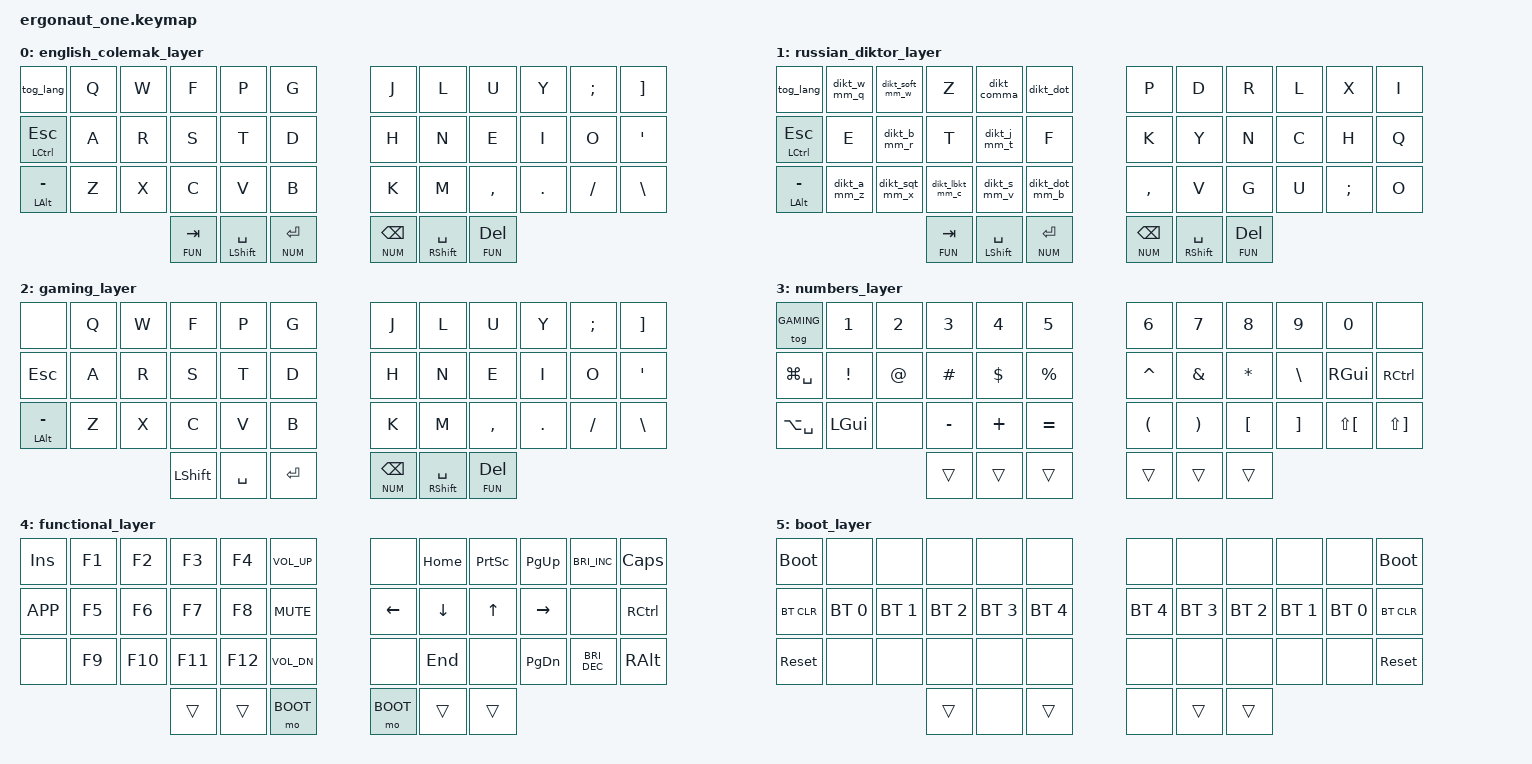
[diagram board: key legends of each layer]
#include <behaviors.dtsi>
#include <dt-bindings/zmk/keys.h>
#include <dt-bindings/zmk/bt.h>

#define ENG 0
#define RUS 1
#define GAMING 2
#define NUM 3
#define FUN 4
#define BOOT 5

#define TOGGLE_LANGUAGE LG(SPACE)
#define TOGGLE_LANGUAGE_TIME 150

#define RUS_COMMA QMARK
#define RUS_QMARK AMPS
#define RUS_DOT SLASH

&lt {
    quick-tap-ms = <200>;
    tapping-term-ms = <200>;
    flavor = "hold-preferred";
};

&mt {
    quick-tap-ms = <200>;
    tapping-term-ms = <200>;
    flavor = "hold-preferred";
};

/ {
    behaviors {
        tog_lang: toggle_language {
            compatible = "zmk,behavior-tap-dance";
            #binding-cells = <0>;
            tapping-term-ms = <TOGGLE_LANGUAGE_TIME>;
            bindings = <&kp GRAVE>, <&toggle_lang>;
        };

        dikt_soft: diktor_soft_sign {
            compatible = "zmk,behavior-mod-morph";
            #binding-cells = <0>;
            bindings = <&kp M>, <&kp RBKT>;
            mods = <(MOD_LSFT|MOD_RSFT)>;
        };

        dikt_comma: diktor_comma {
            compatible = "zmk,behavior-mod-morph";
            #binding-cells = <0>;
            bindings = <&kp RUS_COMMA>, <&kp RUS_QMARK>;
            mods = <(MOD_LSFT|MOD_RSFT)>;
        };

        dikt_dot: diktor_dot {
            compatible = "zmk,behavior-mod-morph";
            #binding-cells = <0>;
            bindings = <&kp RUS_DOT>, <&kp EXCL>;
            mods = <(MOD_LSFT|MOD_RSFT)>;
        };

        dikt_w_mm_q: diktor_W_modmorph_Q {
            compatible = "zmk,behavior-mod-morph";
            #binding-cells = <0>;
            bindings = <&kp W>, <&kp Q>;
            mods = <(MOD_LCTL|MOD_RCTL|MOD_LGUI|MOD_RGUI)>;
            keep-mods = <(MOD_LCTL|MOD_RCTL|MOD_LGUI|MOD_RGUI)>;
        };

        dikt_soft_mm_w: diktor_soft_modmorph_W {
            compatible = "zmk,behavior-mod-morph";
            #binding-cells = <0>;
            bindings = <&dikt_soft>, <&kp W>;
            mods = <(MOD_LCTL|MOD_RCTL|MOD_LGUI|MOD_RGUI)>;
            keep-mods = <(MOD_LCTL|MOD_RCTL|MOD_LGUI|MOD_RGUI)>;
        };

        dikt_b_mm_r: diktor_B_modmorph_R {
            compatible = "zmk,behavior-mod-morph";
            #binding-cells = <0>;
            bindings = <&kp B>, <&kp R>;
            mods = <(MOD_LCTL|MOD_RCTL|MOD_LGUI|MOD_RGUI)>;
            keep-mods = <(MOD_LCTL|MOD_RCTL|MOD_LGUI|MOD_RGUI)>;
        };

        dikt_j_mm_t: diktor_J_modmorph_T {
            compatible = "zmk,behavior-mod-morph";
            #binding-cells = <0>;
            bindings = <&kp J>, <&kp T>;
            mods = <(MOD_LCTL|MOD_RCTL|MOD_LGUI|MOD_RGUI)>;
            keep-mods = <(MOD_LCTL|MOD_RCTL|MOD_LGUI|MOD_RGUI)>;
        };

        dikt_a_mm_z: diktor_A_modmorph_Z {
            compatible = "zmk,behavior-mod-morph";
            #binding-cells = <0>;
            bindings = <&kp A>, <&kp Z>;
            mods = <(MOD_LCTL|MOD_RCTL|MOD_LGUI|MOD_RGUI)>;
            keep-mods = <(MOD_LCTL|MOD_RCTL|MOD_LGUI|MOD_RGUI)>;
        };

        dikt_sqt_mm_x: diktor_SQT_modmorph_X {
            compatible = "zmk,behavior-mod-morph";
            #binding-cells = <0>;
            bindings = <&kp SQT>, <&kp X>;
            mods = <(MOD_LCTL|MOD_RCTL|MOD_LGUI|MOD_RGUI)>;
            keep-mods = <(MOD_LCTL|MOD_RCTL|MOD_LGUI|MOD_RGUI)>;
        };

        dikt_lbkt_mm_c: diktor_LBKT_modmorph_C {
            compatible = "zmk,behavior-mod-morph";
            #binding-cells = <0>;
            bindings = <&kp LBKT>, <&kp C>;
            mods = <(MOD_LCTL|MOD_RCTL|MOD_LGUI|MOD_RGUI)>;
            keep-mods = <(MOD_LCTL|MOD_RCTL|MOD_LGUI|MOD_RGUI)>;
        };

        dikt_s_mm_v: diktor_S_modmorph_V {
            compatible = "zmk,behavior-mod-morph";
            #binding-cells = <0>;
            bindings = <&kp S>, <&kp V>;
            mods = <(MOD_LCTL|MOD_RCTL|MOD_LGUI|MOD_RGUI)>;
            keep-mods = <(MOD_LCTL|MOD_RCTL|MOD_LGUI|MOD_RGUI)>;
        };

        dikt_dot_mm_b: diktor_DOT_modmorph_B {
            compatible = "zmk,behavior-mod-morph";
            #binding-cells = <0>;
            bindings = <&kp DOT>, <&kp B>;
            mods = <(MOD_LCTL|MOD_RCTL|MOD_LGUI|MOD_RGUI)>;
            keep-mods = <(MOD_LCTL|MOD_RCTL|MOD_LGUI|MOD_RGUI)>;
        };
    };

    macros {
        toggle_lang: to_english_or_russian {
            compatible = "zmk,behavior-macro";
            wait-ms = <20>;
            tap-ms = <20>;
            #binding-cells = <0>;
            bindings
                = <&macro_tap &kp TOGGLE_LANGUAGE>
                , <&macro_tap &tog RUS>
                ;
        };
    };

    keymap {
        compatible = "zmk,keymap";

        english_colemak_layer {
            bindings = <
                &tog_lang         &kp Q          &kp W             &kp F             &kp P             &kp G          &kp J          &kp L            &kp U          &kp Y          &kp SEMI          &kp RBKT
                &mt LCTRL ESC     &kp A          &kp R             &kp S             &kp T             &kp D          &kp H          &kp N            &kp E          &kp I          &kp O             &kp SQT
                &mt LALT MINUS    &kp Z          &kp X             &kp C             &kp V             &kp B          &kp K          &kp M            &kp COMMA      &kp DOT        &kp FSLH          &kp BSLH
                                                                   &lt FUN TAB       &mt LSHFT SPACE   &lt NUM RET    &lt NUM BSPC   &mt RSHFT SPACE  &lt FUN DEL
            >;
        };

        russian_diktor_layer {
            bindings = <
                &tog_lang         &dikt_w_mm_q   &dikt_soft_mm_w   &kp Z             &dikt_comma       &dikt_dot      &kp P          &kp D            &kp R          &kp L          &kp X             &kp I
                &mt LCTRL ESC     &kp E          &dikt_b_mm_r      &kp T             &dikt_j_mm_t      &kp F          &kp K          &kp Y            &kp N          &kp C          &kp H             &kp Q
                &mt LALT MINUS    &dikt_a_mm_z   &dikt_sqt_mm_x    &dikt_lbkt_mm_c   &dikt_s_mm_v      &dikt_dot_mm_b &kp COMMA      &kp V            &kp G          &kp U          &kp SEMI          &kp O
                                                                   &lt FUN TAB       &mt LSHFT SPACE   &lt NUM RET    &lt NUM BSPC   &mt RSHFT SPACE  &lt FUN DEL
            >;
        };

        gaming_layer {
            bindings = <
                &none             &kp Q          &kp W             &kp F             &kp P             &kp G          &kp J          &kp L            &kp U          &kp Y          &kp SEMI          &kp RBKT
                &kp ESC           &kp A          &kp R             &kp S             &kp T             &kp D          &kp H          &kp N            &kp E          &kp I          &kp O             &kp SQT
                &mt LALT MINUS    &kp Z          &kp X             &kp C             &kp V             &kp B          &kp K          &kp M            &kp COMMA      &kp DOT        &kp FSLH          &kp BSLH
                                                                   &kp LSHIFT        &kp SPACE         &kp RET        &lt NUM BSPC   &mt RSHFT SPACE  &lt FUN DEL
            >;
        };

        numbers_layer {
            bindings = <
                &tog GAMING       &kp N1         &kp N2            &kp N3            &kp N4            &kp N5         &kp N6         &kp N7           &kp N8         &kp N9         &kp N0            &none
                &kp LG(SPACE)     &kp EXCL       &kp AT            &kp HASH          &kp DLLR          &kp PRCNT      &kp CARET      &kp AMPS         &kp STAR       &kp BSLH       &kp RGUI          &kp RCTRL
                &kp LA(SPACE)     &kp LGUI       &none             &kp MINUS         &kp PLUS          &kp EQUAL      &kp LPAR       &kp RPAR         &kp LBKT       &kp RBKT       &kp LS(LBKT)      &kp LS(RBKT)
                                                                   &trans            &trans            &trans         &trans         &trans           &trans
            >;
        };

        functional_layer {
            bindings = <
                &kp INS           &kp F1         &kp F2            &kp F3            &kp F4            &kp C_VOL_UP   &none          &kp HOME         &kp PSCRN      &kp PG_UP      &kp C_BRI_INC     &kp CLCK
                &kp K_APP         &kp F5         &kp F6            &kp F7            &kp F8            &kp C_MUTE     &kp LEFT       &kp DOWN         &kp UP         &kp RIGHT      &none             &kp RCTRL
                &none             &kp F9         &kp F10           &kp F11           &kp F12           &kp C_VOL_DN   &none          &kp END          &none          &kp PG_DN      &kp C_BRI_DEC     &kp RALT
                                                                   &trans            &trans            &mo BOOT       &mo BOOT       &trans           &trans
            >;
        };

        boot_layer {
            bindings = <
                &bootloader       &none          &none             &none             &none             &none          &none          &none            &none          &none          &none             &bootloader
                &bt BT_CLR        &bt BT_SEL 0   &bt BT_SEL 1      &bt BT_SEL 2      &bt BT_SEL 3      &bt BT_SEL 4   &bt BT_SEL 4   &bt BT_SEL 3     &bt BT_SEL 2   &bt BT_SEL 1   &bt BT_SEL 0      &bt BT_CLR
                &sys_reset        &none          &none             &none             &none             &none          &none          &none            &none          &none          &none             &sys_reset
                                                                   &trans            &none             &trans         &none          &trans           &trans
            >;
        };
    };
};
